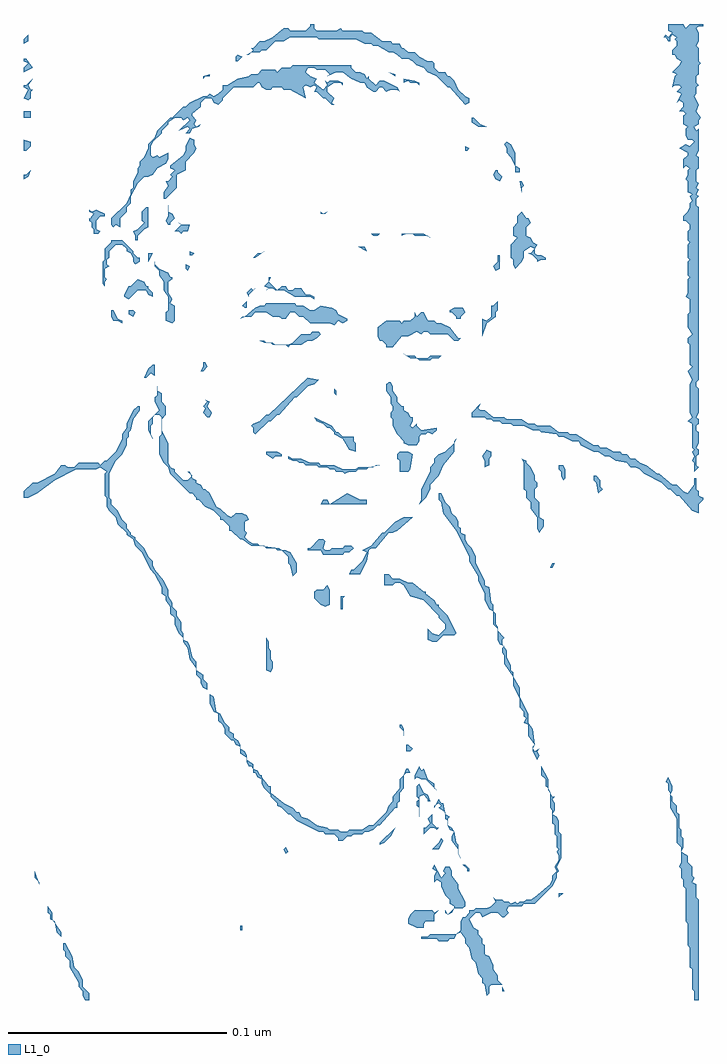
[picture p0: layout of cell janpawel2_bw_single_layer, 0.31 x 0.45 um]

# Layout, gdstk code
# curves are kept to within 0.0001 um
import gdstk
lib = gdstk.Library(unit=1e-6, precision=1e-09)
def R(c, l, rs):  # rectangles x0, y0, x1, y1
    for r in rs: c.add(gdstk.rectangle(r[:2], r[2:], *l))
def P(c, l, *ps):  # polygons
    for p in ps: c.add(gdstk.Polygon(p, *l))
L1_0 = (1, 0)

janpawel2_bw_single_laye = lib.new_cell('janpawel2_bw_single_layer')
R(janpawel2_bw_single_laye, L1_0, [(0.099,0.033,0.1,0.035), (0,0.405,0.003,0.408)])
P(janpawel2_bw_single_laye, L1_0, [(0.018,0.027),(0.018,0.024),(0.019,0.023),(0.019,0.021),(0.021,0.019),(0.021,0.016),(0.025,0.009),(0.025,0.007),(0.027,0.005),(0.027,0.003),(0.028,0.001),(0.03,0.001),(0.03,0.004),(0.027,0.007),(0.027,0.01),(0.025,0.014),(0.023,0.016),(0.022,0.021),(0.019,0.027)],
  [(0.176,0.036),(0.18,0.034),(0.183,0.034),(0.183,0.036),(0.184,0.037),(0.188,0.037),(0.188,0.04),(0.19,0.042),(0.188,0.041),(0.187,0.042),(0.179,0.042),(0.177,0.04),(0.176,0.038)],
  [(0.011,0.044),(0.011,0.041),(0.012,0.04),(0.012,0.038),(0.014,0.037),(0.015,0.032),(0.017,0.03),(0.017,0.032),(0.013,0.038),(0.013,0.041)],
  [(0.247,0.05),(0.245,0.05),(0.245,0.048)],
  [(0.005,0.06),(0.005,0.057),(0.007,0.055),(0.007,0.054)],
  [(0.201,0.063),(0.203,0.061),(0.203,0.06),(0.204,0.06),(0.204,0.061),(0.202,0.063)],
  [(0.188,0.063),(0.187,0.061),(0.189,0.06),(0.188,0.058),(0.188,0.055),(0.189,0.056),(0.191,0.055),(0.191,0.053),(0.193,0.049),(0.195,0.047),(0.195,0.045),(0.197,0.044),(0.197,0.043),(0.194,0.04),(0.193,0.041),(0.193,0.042),(0.194,0.04),(0.196,0.041),(0.197,0.043),(0.201,0.043),(0.202,0.044),(0.202,0.046),(0.199,0.052),(0.199,0.054),(0.196,0.058),(0.196,0.06),(0.195,0.062),(0.193,0.062),(0.192,0.06),(0.193,0.059),(0.191,0.057)],
  [(0.12,0.071),(0.119,0.07),(0.12,0.068),(0.121,0.069)],
  [(0.192,0.074),(0.191,0.075),(0.19,0.073),(0.187,0.07),(0.19,0.07)],
  [(0.17,0.08),(0.163,0.073),(0.163,0.072),(0.165,0.073),(0.168,0.076)],
  [(0.187,0.086),(0.185,0.084),(0.186,0.082),(0.184,0.08),(0.183,0.08),(0.183,0.077),(0.186,0.08),(0.188,0.08),(0.189,0.079),(0.19,0.08),(0.189,0.08),(0.187,0.082)],
  [(0.19,0.093),(0.188,0.089),(0.188,0.09),(0.19,0.091),(0.191,0.09),(0.19,0.089),(0.193,0.087),(0.193,0.084),(0.194,0.083),(0.194,0.081),(0.195,0.079),(0.197,0.078),(0.196,0.076),(0.196,0.074),(0.199,0.07),(0.199,0.068),(0.2,0.066),(0.199,0.068),(0.199,0.072),(0.198,0.073),(0.197,0.078),(0.196,0.08),(0.194,0.081),(0.194,0.084),(0.195,0.085),(0.193,0.086),(0.192,0.091),(0.191,0.091)],
  [(0.181,0.1),(0.18,0.099),(0.18,0.094),(0.181,0.093),(0.18,0.092),(0.18,0.09),(0.181,0.089),(0.181,0.085),(0.181,0.094),(0.183,0.095),(0.185,0.093),(0.185,0.092),(0.186,0.092),(0.185,0.095),(0.183,0.096)],
  [(0.295,0.103),(0.294,0.101),(0.295,0.1),(0.295,0.097),(0.296,0.096),(0.296,0.089),(0.299,0.084),(0.299,0.073),(0.301,0.071),(0.301,0.064),(0.3,0.062),(0.301,0.061),(0.301,0.057),(0.302,0.056),(0.302,0.053),(0.303,0.052),(0.303,0.037),(0.304,0.036),(0.304,0.026),(0.305,0.025),(0.305,0.016),(0.306,0.015),(0.306,0.006),(0.307,0.005),(0.307,0.001),(0.309,0.001),(0.309,0.047),(0.308,0.048),(0.308,0.054),(0.306,0.055),(0.307,0.057),(0.306,0.058),(0.306,0.062),(0.304,0.064),(0.304,0.067),(0.301,0.069),(0.302,0.071),(0.302,0.075),(0.301,0.076),(0.301,0.079),(0.3,0.08),(0.3,0.086),(0.299,0.087),(0.299,0.09),(0.297,0.092),(0.297,0.094),(0.296,0.095),(0.297,0.097),(0.297,0.099)],
  [(0.181,0.108),(0.179,0.104),(0.179,0.102),(0.18,0.103),(0.182,0.102),(0.184,0.102),(0.189,0.097),(0.188,0.098),(0.188,0.1),(0.185,0.102),(0.183,0.107),(0.182,0.106)],
  [(0.182,0.029),(0.189,0.029),(0.19,0.028),(0.194,0.028),(0.195,0.029),(0.197,0.029),(0.198,0.031),(0.186,0.031),(0.185,0.03),(0.182,0.03)],
  [(0.198,0.031),(0.2,0.032),(0.201,0.032),(0.202,0.033),(0.201,0.034),(0.202,0.036),(0.204,0.035),(0.203,0.034),(0.204,0.034),(0.205,0.033),(0.205,0.031),(0.203,0.029),(0.201,0.031),(0.201,0.032),(0.2,0.032),(0.202,0.029),(0.202,0.027),(0.204,0.025),(0.205,0.02),(0.207,0.018),(0.208,0.013),(0.21,0.011),(0.21,0.009),(0.211,0.008),(0.212,0.003),(0.213,0.004),(0.213,0.007),(0.214,0.008),(0.219,0.008),(0.217,0.01),(0.217,0.012),(0.215,0.015),(0.215,0.017),(0.213,0.021),(0.211,0.022),(0.211,0.026),(0.21,0.027),(0.21,0.029),(0.208,0.031),(0.208,0.033),(0.206,0.034),(0.204,0.038),(0.207,0.041),(0.209,0.041),(0.21,0.039),(0.214,0.041),(0.217,0.041),(0.219,0.039),(0.22,0.039),(0.222,0.041),(0.221,0.042),(0.222,0.044),(0.228,0.044),(0.229,0.045),(0.234,0.045),(0.242,0.053),(0.244,0.057),(0.244,0.059),(0.245,0.06),(0.244,0.062),(0.246,0.066),(0.246,0.077),(0.245,0.078),(0.245,0.083),(0.244,0.085),(0.242,0.086),(0.242,0.082),(0.243,0.081),(0.243,0.077),(0.244,0.076),(0.244,0.071),(0.245,0.07),(0.244,0.069),(0.245,0.067),(0.245,0.065),(0.243,0.062),(0.244,0.06),(0.242,0.058),(0.242,0.056),(0.241,0.054),(0.234,0.048),(0.232,0.047),(0.23,0.047),(0.229,0.046),(0.227,0.046),(0.226,0.045),(0.225,0.046),(0.223,0.045),(0.222,0.046),(0.22,0.046),(0.219,0.047),(0.216,0.047),(0.215,0.048),(0.216,0.046),(0.214,0.044),(0.212,0.043),(0.207,0.043),(0.206,0.042),(0.204,0.042),(0.204,0.041),(0.202,0.039),(0.201,0.039),(0.2,0.037),(0.2,0.033)],
  [(0.219,0.005),(0.22,0.005),(0.219,0.007)],
  [(0.237,0.104),(0.239,0.102),(0.239,0.099),(0.24,0.098),(0.24,0.102),(0.237,0.108)],
  [(0.24,0.097),(0.241,0.096),(0.24,0.098)],
  [(0.241,0.089),(0.242,0.088),(0.242,0.086),(0.243,0.088),(0.243,0.091),(0.242,0.093),(0.243,0.094),(0.242,0.094),(0.241,0.096)],
  [(0.204,0.034),(0.205,0.033),(0.205,0.031),(0.203,0.029),(0.201,0.031),(0.201,0.032),(0.203,0.034)],
  [(0.201,0.034),(0.202,0.036),(0.204,0.035),(0.202,0.033)],
  [(0.175,0.118),(0.175,0.115),(0.177,0.115),(0.178,0.116),(0.176,0.118)],
  [(0.172,0.127),(0.172,0.126),(0.174,0.124),(0.174,0.122),(0.174,0.125),(0.173,0.127)],
  [(0.085,0.141),(0.085,0.137),(0.087,0.133),(0.089,0.132),(0.089,0.129),(0.091,0.127),(0.092,0.125),(0.092,0.123),(0.095,0.12),(0.096,0.12),(0.097,0.118),(0.099,0.117),(0.099,0.114),(0.102,0.112),(0.102,0.11),(0.103,0.108),(0.104,0.108),(0.105,0.107),(0.105,0.105),(0.106,0.105),(0.107,0.103),(0.109,0.102),(0.109,0.1),(0.11,0.098),(0.113,0.095),(0.113,0.094),(0.116,0.091),(0.116,0.09),(0.118,0.089),(0.121,0.086),(0.122,0.086),(0.125,0.083),(0.135,0.078),(0.137,0.078),(0.138,0.077),(0.142,0.077),(0.144,0.075),(0.144,0.074),(0.146,0.074),(0.148,0.076),(0.15,0.076),(0.151,0.077),(0.155,0.077),(0.156,0.078),(0.158,0.078),(0.16,0.079),(0.162,0.081),(0.163,0.081),(0.17,0.089),(0.171,0.089),(0.171,0.091),(0.172,0.092),(0.172,0.096),(0.174,0.098),(0.174,0.104),(0.175,0.105),(0.177,0.105),(0.176,0.107),(0.175,0.107),(0.174,0.104),(0.172,0.102),(0.172,0.098),(0.169,0.094),(0.169,0.092),(0.167,0.09),(0.166,0.087),(0.16,0.081),(0.158,0.081),(0.155,0.079),(0.149,0.079),(0.148,0.078),(0.145,0.078),(0.144,0.079),(0.14,0.079),(0.139,0.08),(0.134,0.081),(0.13,0.084),(0.127,0.085),(0.126,0.087),(0.125,0.087),(0.123,0.089),(0.119,0.091),(0.113,0.096),(0.113,0.099),(0.112,0.099),(0.109,0.103),(0.109,0.104),(0.108,0.104),(0.107,0.106),(0.105,0.107),(0.105,0.109),(0.102,0.111),(0.102,0.113),(0.101,0.115),(0.099,0.116),(0.099,0.118),(0.098,0.12),(0.096,0.121),(0.096,0.123),(0.094,0.124),(0.094,0.126),(0.092,0.128),(0.09,0.132),(0.088,0.133),(0.087,0.14)],
  [(0.111,0.167),(0.111,0.152),(0.113,0.151),(0.114,0.153),(0.114,0.156),(0.113,0.157),(0.113,0.161),(0.112,0.162),(0.112,0.165)],
  [(0.147,0.186),(0.145,0.186),(0.145,0.18),(0.146,0.18),(0.146,0.185)],
  [(0.139,0.191),(0.137,0.189),(0.134,0.189),(0.133,0.188),(0.133,0.185),(0.136,0.182),(0.138,0.181),(0.14,0.182),(0.14,0.189)],
  [(0.165,0.196),(0.165,0.191),(0.169,0.191),(0.17,0.192),(0.172,0.192),(0.174,0.191),(0.177,0.186),(0.183,0.184),(0.19,0.177),(0.19,0.176),(0.193,0.173),(0.193,0.171),(0.19,0.168),(0.187,0.169),(0.185,0.171),(0.185,0.166),(0.187,0.165),(0.189,0.165),(0.192,0.168),(0.197,0.168),(0.198,0.169),(0.194,0.177),(0.19,0.181),(0.19,0.182),(0.189,0.182),(0.188,0.184),(0.184,0.187),(0.184,0.188),(0.183,0.188),(0.178,0.192),(0.176,0.192),(0.172,0.194),(0.169,0.194),(0.167,0.196)],
  [(0.243,0.201),(0.242,0.201),(0.241,0.199),(0.242,0.199)],
  [(0.13,0.207),(0.136,0.207),(0.137,0.205),(0.146,0.205),(0.147,0.206),(0.149,0.206),(0.151,0.208),(0.15,0.209),(0.147,0.209),(0.146,0.208),(0.141,0.208),(0.14,0.207),(0.138,0.207),(0.137,0.208),(0.138,0.211),(0.137,0.212),(0.135,0.212),(0.131,0.208),(0.13,0.208)],
  [(0.178,0.222),(0.174,0.222),(0.17,0.22),(0.165,0.215),(0.164,0.215),(0.159,0.209),(0.155,0.207),(0.157,0.206),(0.155,0.202),(0.151,0.198),(0.15,0.198),(0.149,0.196),(0.154,0.196),(0.157,0.202),(0.158,0.207),(0.159,0.208),(0.161,0.208),(0.167,0.215),(0.169,0.215),(0.171,0.216)],
  [(0.19,0.233),(0.19,0.23),(0.191,0.229),(0.192,0.224),(0.198,0.216),(0.204,0.204),(0.204,0.202),(0.208,0.195),(0.208,0.193),(0.211,0.187),(0.211,0.184),(0.213,0.18),(0.215,0.179),(0.215,0.173),(0.217,0.171),(0.217,0.166),(0.218,0.164),(0.22,0.163),(0.219,0.162),(0.219,0.16),(0.22,0.159),(0.22,0.155),(0.224,0.149),(0.224,0.145),(0.227,0.139),(0.227,0.135),(0.229,0.133),(0.229,0.131),(0.23,0.13),(0.229,0.128),(0.231,0.127),(0.231,0.122),(0.234,0.118),(0.233,0.117),(0.233,0.115),(0.235,0.111),(0.236,0.113),(0.235,0.115),(0.236,0.116),(0.234,0.115),(0.233,0.116),(0.234,0.118),(0.233,0.125),(0.231,0.128),(0.231,0.132),(0.227,0.14),(0.227,0.144),(0.224,0.149),(0.224,0.151),(0.223,0.152),(0.223,0.154),(0.221,0.158),(0.221,0.161),(0.219,0.164),(0.219,0.166),(0.22,0.167),(0.217,0.17),(0.217,0.172),(0.216,0.173),(0.216,0.178),(0.215,0.179),(0.215,0.182),(0.214,0.183),(0.213,0.19),(0.211,0.191),(0.211,0.193),(0.207,0.201),(0.207,0.204),(0.205,0.208),(0.203,0.21),(0.202,0.212),(0.202,0.214),(0.2,0.215),(0.2,0.217),(0.199,0.218),(0.199,0.22),(0.198,0.222),(0.196,0.224),(0.195,0.227),(0.193,0.229),(0.191,0.233)],
  [(0.157,0.23),(0.154,0.23),(0.148,0.233),(0.14,0.228),(0.139,0.23),(0.137,0.23),(0.136,0.228),(0.157,0.228)],
  [(0.261,0.241),(0.261,0.239),(0.262,0.238),(0.263,0.233),(0.265,0.235),(0.264,0.236),(0.264,0.239),(0.262,0.241)],
  [(0.245,0.246),(0.245,0.244),(0.246,0.243),(0.246,0.241),(0.247,0.239),(0.248,0.24),(0.248,0.244),(0.247,0.246)],
  [(0.228,0.249),(0.229,0.247),(0.229,0.235),(0.23,0.234),(0.23,0.231),(0.232,0.229),(0.232,0.226),(0.235,0.222),(0.235,0.217),(0.236,0.215),(0.238,0.218),(0.238,0.221),(0.236,0.222),(0.236,0.229),(0.234,0.231),(0.234,0.235),(0.235,0.236),(0.235,0.238),(0.234,0.239),(0.234,0.241),(0.232,0.245),(0.23,0.247),(0.23,0.248)],
  [(0.121,0.25),(0.121,0.249),(0.123,0.248),(0.125,0.248),(0.126,0.247),(0.128,0.247),(0.129,0.246),(0.134,0.246),(0.135,0.245),(0.139,0.245),(0.14,0.244),(0.142,0.244),(0.143,0.243),(0.146,0.243),(0.147,0.242),(0.149,0.243),(0.152,0.243),(0.153,0.244),(0.157,0.244),(0.158,0.245),(0.163,0.246),(0.161,0.246),(0.16,0.245),(0.153,0.245),(0.152,0.244),(0.146,0.244),(0.142,0.246),(0.136,0.246),(0.135,0.247),(0.131,0.247),(0.127,0.249),(0.123,0.249)],
  [(0.172,0.252),(0.171,0.251),(0.171,0.249),(0.172,0.248),(0.172,0.243),(0.176,0.243),(0.177,0.244),(0.178,0.251),(0.176,0.252)],
  [(0.111,0.252),(0.111,0.251),(0.114,0.249),(0.115,0.25),(0.118,0.25),(0.118,0.251),(0.116,0.252)],
  [(0.212,0.253),(0.21,0.25),(0.211,0.248),(0.211,0.245),(0.213,0.246),(0.213,0.249),(0.214,0.25),(0.214,0.252)],
  [(0.198,0.258),(0.197,0.256),(0.193,0.252),(0.19,0.251),(0.188,0.249),(0.188,0.247),(0.186,0.245),(0.186,0.243),(0.182,0.235),(0.182,0.23),(0.181,0.228),(0.184,0.231),(0.186,0.235),(0.186,0.237),(0.19,0.241),(0.192,0.246),(0.197,0.252),(0.197,0.257)],
  [(0.133,0.268),(0.134,0.266),(0.137,0.265),(0.139,0.263),(0.14,0.263),(0.142,0.261),(0.142,0.26),(0.146,0.258),(0.149,0.253),(0.152,0.252),(0.152,0.256),(0.151,0.257),(0.151,0.259),(0.146,0.259),(0.144,0.261),(0.143,0.261),(0.141,0.264)],
  [(0.052,0.273),(0.05,0.271),(0.047,0.265),(0.047,0.263),(0.045,0.26),(0.045,0.258),(0.042,0.252),(0.038,0.248),(0.037,0.248),(0.035,0.246),(0.034,0.247),(0.025,0.247),(0.023,0.245),(0.02,0.245),(0.019,0.246),(0.017,0.246),(0.014,0.242),(0.006,0.238),(0.004,0.238),(0,0.234),(0,0.231),(0.002,0.231),(0.006,0.233),(0.014,0.239),(0.024,0.244),(0.033,0.244),(0.035,0.245),(0.038,0.243),(0.037,0.242),(0.037,0.232),(0.038,0.231),(0.038,0.227),(0.039,0.225),(0.042,0.222),(0.043,0.219),(0.047,0.215),(0.047,0.214),(0.05,0.212),(0.051,0.209),(0.054,0.206),(0.058,0.198),(0.06,0.196),(0.063,0.19),(0.063,0.187),(0.065,0.186),(0.065,0.184),(0.067,0.181),(0.067,0.178),(0.069,0.176),(0.069,0.173),(0.071,0.169),(0.073,0.167),(0.073,0.165),(0.075,0.162),(0.076,0.157),(0.079,0.153),(0.079,0.15),(0.081,0.148),(0.081,0.146),(0.082,0.144),(0.084,0.143),(0.084,0.146),(0.082,0.148),(0.082,0.15),(0.079,0.152),(0.079,0.156),(0.077,0.158),(0.076,0.163),(0.075,0.165),(0.073,0.166),(0.073,0.169),(0.072,0.17),(0.072,0.174),(0.07,0.177),(0.07,0.179),(0.068,0.181),(0.068,0.183),(0.066,0.186),(0.066,0.189),(0.064,0.193),(0.06,0.198),(0.059,0.2),(0.059,0.202),(0.057,0.204),(0.055,0.208),(0.051,0.212),(0.051,0.213),(0.049,0.214),(0.049,0.215),(0.047,0.217),(0.047,0.219),(0.045,0.221),(0.043,0.225),(0.04,0.228),(0.04,0.23),(0.039,0.231),(0.039,0.242),(0.042,0.248),(0.045,0.251),(0.047,0.255),(0.047,0.258),(0.048,0.259),(0.048,0.261),(0.049,0.262),(0.05,0.267),(0.053,0.271),(0.053,0.273)],
  [(0.205,0.27),(0.205,0.268),(0.211,0.268),(0.212,0.267),(0.214,0.267),(0.215,0.266),(0.218,0.266),(0.219,0.265),(0.223,0.265),(0.224,0.264),(0.229,0.264),(0.233,0.262),(0.236,0.262),(0.237,0.261),(0.244,0.26),(0.245,0.259),(0.247,0.259),(0.251,0.257),(0.254,0.257),(0.255,0.255),(0.261,0.252),(0.263,0.252),(0.266,0.25),(0.268,0.25),(0.271,0.248),(0.276,0.247),(0.278,0.245),(0.28,0.245),(0.282,0.244),(0.284,0.242),(0.292,0.238),(0.295,0.235),(0.296,0.235),(0.299,0.232),(0.3,0.232),(0.306,0.225),(0.309,0.224),(0.309,0.228),(0.311,0.23),(0.311,0.231),(0.309,0.232),(0.309,0.234),(0.308,0.235),(0.308,0.24),(0.307,0.24),(0.307,0.237),(0.304,0.233),(0.302,0.234),(0.299,0.237),(0.297,0.237),(0.291,0.242),(0.29,0.242),(0.285,0.246),(0.282,0.247),(0.28,0.249),(0.278,0.249),(0.276,0.251),(0.274,0.251),(0.273,0.252),(0.27,0.252),(0.267,0.254),(0.264,0.254),(0.263,0.255),(0.261,0.255),(0.253,0.26),(0.25,0.26),(0.249,0.261),(0.245,0.261),(0.241,0.264),(0.235,0.264),(0.234,0.265),(0.231,0.265),(0.228,0.267),(0.221,0.267),(0.22,0.268),(0.215,0.268),(0.211,0.271),(0.209,0.271),(0.208,0.272),(0.209,0.274)],
  [(0.083,0.276),(0.084,0.275),(0.082,0.273),(0.083,0.272),(0.082,0.27),(0.084,0.268),(0.085,0.268),(0.086,0.27),(0.084,0.273),(0.085,0.275)],
  [(0.142,0.281),(0.142,0.279),(0.143,0.278),(0.143,0.28)],
  [(0.061,0.282),(0.061,0.278),(0.06,0.277),(0.06,0.275),(0.062,0.271),(0.057,0.266),(0.057,0.262),(0.059,0.258),(0.058,0.26),(0.058,0.264),(0.059,0.265),(0.059,0.268),(0.06,0.269),(0.062,0.269),(0.063,0.268),(0.063,0.26),(0.062,0.259),(0.062,0.251),(0.064,0.247),(0.066,0.245),(0.067,0.242),(0.076,0.233),(0.077,0.233),(0.079,0.231),(0.079,0.23),(0.08,0.23),(0.083,0.227),(0.087,0.225),(0.09,0.222),(0.09,0.221),(0.091,0.221),(0.094,0.218),(0.094,0.216),(0.095,0.216),(0.099,0.212),(0.1,0.212),(0.104,0.209),(0.11,0.209),(0.111,0.208),(0.115,0.208),(0.116,0.207),(0.118,0.207),(0.121,0.204),(0.121,0.201),(0.122,0.2),(0.123,0.195),(0.125,0.197),(0.125,0.201),(0.122,0.206),(0.12,0.207),(0.118,0.207),(0.117,0.208),(0.108,0.209),(0.107,0.21),(0.105,0.21),(0.103,0.211),(0.101,0.213),(0.102,0.215),(0.101,0.216),(0.101,0.22),(0.103,0.221),(0.102,0.223),(0.1,0.224),(0.097,0.224),(0.095,0.222),(0.093,0.223),(0.09,0.226),(0.088,0.227),(0.085,0.233),(0.083,0.235),(0.082,0.235),(0.081,0.237),(0.079,0.238),(0.079,0.239),(0.077,0.24),(0.076,0.243),(0.075,0.243),(0.077,0.241),(0.075,0.239),(0.073,0.239),(0.069,0.243),(0.069,0.244),(0.067,0.245),(0.066,0.247),(0.066,0.256),(0.063,0.262),(0.063,0.267),(0.065,0.269),(0.065,0.273),(0.063,0.275),(0.063,0.279),(0.061,0.28)],
  [(0.167,0.284),(0.166,0.283),(0.166,0.28),(0.168,0.277),(0.168,0.274),(0.169,0.273),(0.169,0.271),(0.168,0.27),(0.168,0.268),(0.169,0.267),(0.169,0.264),(0.171,0.26),(0.174,0.257),(0.174,0.256),(0.176,0.255),(0.18,0.255),(0.181,0.257),(0.181,0.259),(0.182,0.26),(0.184,0.26),(0.185,0.261),(0.187,0.26),(0.189,0.262),(0.189,0.263),(0.182,0.262),(0.18,0.264),(0.18,0.265),(0.178,0.263),(0.177,0.264),(0.178,0.266),(0.178,0.268),(0.177,0.268),(0.176,0.27),(0.174,0.271),(0.174,0.273),(0.173,0.273),(0.171,0.275),(0.171,0.277),(0.169,0.28),(0.169,0.282),(0.168,0.284)],
  [(0.135,0.285),(0.13,0.286),(0.112,0.269),(0.111,0.269),(0.108,0.266),(0.105,0.265),(0.104,0.264),(0.105,0.263),(0.105,0.261),(0.106,0.26),(0.112,0.266),(0.113,0.266),(0.116,0.269),(0.117,0.269),(0.124,0.277),(0.125,0.277),(0.13,0.282),(0.133,0.283)],
  [(0.06,0.292),(0.059,0.292),(0.057,0.29),(0.055,0.286),(0.056,0.286),(0.058,0.288),(0.06,0.287)],
  [(0.083,0.293),(0.082,0.293),(0.082,0.291),(0.081,0.289),(0.082,0.289),(0.084,0.291)],
  [(0.174,0.297),(0.177,0.295),(0.18,0.295),(0.181,0.294),(0.186,0.294),(0.187,0.295),(0.19,0.295),(0.191,0.296),(0.186,0.296),(0.185,0.295),(0.18,0.295),(0.179,0.296),(0.175,0.296)],
  [(0.136,0.306),(0.135,0.307),(0.132,0.307),(0.131,0.306),(0.127,0.306),(0.123,0.302),(0.121,0.301),(0.115,0.301),(0.114,0.302),(0.111,0.302),(0.11,0.303),(0.108,0.303),(0.11,0.302),(0.113,0.302),(0.114,0.301),(0.12,0.301),(0.121,0.3),(0.122,0.301),(0.127,0.301),(0.13,0.303),(0.132,0.303),(0.134,0.304)],
  [(0.162,0.309),(0.162,0.305),(0.163,0.303),(0.164,0.303),(0.166,0.301),(0.166,0.3),(0.169,0.3),(0.173,0.305),(0.176,0.305),(0.18,0.307),(0.182,0.306),(0.183,0.307),(0.185,0.307),(0.186,0.306),(0.194,0.306),(0.197,0.303),(0.199,0.303),(0.2,0.304),(0.199,0.304),(0.195,0.309),(0.191,0.311),(0.189,0.311),(0.188,0.312),(0.185,0.312),(0.183,0.316),(0.182,0.316),(0.18,0.314),(0.179,0.316),(0.179,0.314),(0.177,0.312),(0.174,0.312),(0.173,0.311),(0.172,0.312),(0.166,0.312)],
  [(0.048,0.317),(0.048,0.315),(0.05,0.314),(0.051,0.316),(0.05,0.317)],
  [(0.04,0.317),(0.04,0.314),(0.041,0.312),(0.043,0.312),(0.045,0.311),(0.045,0.312),(0.043,0.313),(0.041,0.317)],
  [(0.195,0.317),(0.195,0.316),(0.196,0.316),(0.198,0.314),(0.198,0.313),(0.2,0.313),(0.2,0.314),(0.202,0.316),(0.201,0.318),(0.197,0.318)],
  [(0.099,0.313),(0.101,0.314),(0.1,0.314)],
  [(0.101,0.314),(0.104,0.314),(0.106,0.316),(0.111,0.316),(0.114,0.314),(0.117,0.314),(0.118,0.313),(0.12,0.313),(0.122,0.316),(0.124,0.316),(0.126,0.314),(0.128,0.314),(0.131,0.311),(0.14,0.311),(0.142,0.31),(0.144,0.312),(0.146,0.311),(0.148,0.312),(0.148,0.313),(0.144,0.315),(0.143,0.317),(0.141,0.318),(0.136,0.319),(0.138,0.318),(0.136,0.316),(0.135,0.317),(0.136,0.319),(0.133,0.317),(0.131,0.317),(0.128,0.319),(0.125,0.319),(0.124,0.32),(0.111,0.32),(0.11,0.319),(0.108,0.319),(0.106,0.318)],
  [(0.135,0.317),(0.136,0.319),(0.138,0.318),(0.136,0.316)],
  [(0.217,0.321),(0.215,0.319),(0.214,0.319),(0.214,0.314),(0.212,0.312),(0.21,0.313),(0.21,0.305),(0.212,0.311),(0.216,0.314),(0.216,0.316),(0.217,0.317)],
  [(0.102,0.321),(0.1,0.319),(0.101,0.318),(0.102,0.318)],
  [(0.106,0.327),(0.105,0.326),(0.104,0.327),(0.102,0.325),(0.103,0.323),(0.103,0.324)],
  [(0.046,0.324),(0.046,0.323),(0.048,0.322),(0.052,0.326),(0.056,0.326),(0.057,0.324),(0.059,0.323),(0.059,0.325),(0.057,0.327),(0.057,0.328),(0.056,0.328),(0.055,0.33),(0.052,0.331),(0.049,0.328),(0.048,0.328)],
  [(0.11,0.328),(0.112,0.327),(0.111,0.326),(0.112,0.327),(0.114,0.327),(0.115,0.326),(0.119,0.326),(0.124,0.323),(0.131,0.323),(0.133,0.322),(0.133,0.323),(0.131,0.324),(0.129,0.324),(0.127,0.327),(0.124,0.327),(0.123,0.326),(0.121,0.326),(0.12,0.328),(0.118,0.328),(0.116,0.326),(0.112,0.33),(0.113,0.332),(0.112,0.332),(0.112,0.33)],
  [(0.074,0.338),(0.074,0.336),(0.075,0.335),(0.076,0.337)],
  [(0.06,0.339),(0.06,0.337),(0.062,0.335),(0.062,0.333),(0.064,0.33),(0.064,0.326),(0.066,0.323),(0.066,0.317),(0.065,0.316),(0.065,0.312),(0.068,0.311),(0.069,0.312),(0.069,0.319),(0.067,0.32),(0.068,0.322),(0.066,0.325),(0.066,0.33),(0.068,0.331),(0.068,0.332),(0.067,0.332),(0.066,0.334),(0.062,0.336),(0.06,0.338)],
  [(0.218,0.342),(0.217,0.342),(0.217,0.339),(0.215,0.337),(0.216,0.335),(0.218,0.336)],
  [(0.059,0.343),(0.057,0.343),(0.057,0.339)],
  [(0.11,0.344),(0.109,0.343),(0.107,0.343),(0.105,0.341),(0.106,0.341)],
  [(0.076,0.344),(0.076,0.342),(0.077,0.342),(0.078,0.343)],
  [(0.153,0.346),(0.157,0.344),(0.156,0.346)],
  [(0.045,0.349),(0.04,0.349),(0.04,0.348),(0.037,0.345),(0.037,0.34),(0.036,0.339),(0.036,0.329),(0.037,0.328),(0.037,0.33),(0.038,0.331),(0.037,0.332),(0.037,0.336),(0.039,0.337),(0.038,0.338),(0.038,0.34),(0.039,0.341),(0.039,0.344),(0.042,0.347),(0.045,0.347),(0.047,0.345),(0.047,0.344),(0.049,0.343),(0.05,0.341),(0.05,0.339),(0.051,0.338),(0.053,0.339),(0.053,0.341),(0.052,0.341),(0.05,0.343),(0.05,0.344)],
  [(0.173,0.352),(0.173,0.351),(0.175,0.352),(0.178,0.352),(0.179,0.351),(0.185,0.351),(0.186,0.35),(0.183,0.352)],
  [(0.157,0.352),(0.159,0.352),(0.16,0.351),(0.162,0.351),(0.163,0.352)],
  [(0.069,0.353),(0.071,0.353),(0.072,0.352),(0.073,0.353),(0.075,0.353),(0.076,0.356),(0.072,0.356),(0.071,0.357),(0.072,0.356)],
  [(0.228,0.362),(0.226,0.36),(0.226,0.357),(0.224,0.355),(0.224,0.351),(0.226,0.35),(0.223,0.347),(0.223,0.341),(0.224,0.34),(0.224,0.338),(0.225,0.336),(0.228,0.339),(0.229,0.341),(0.229,0.344),(0.232,0.346),(0.234,0.345),(0.232,0.343),(0.231,0.343),(0.233,0.342),(0.235,0.34),(0.235,0.339),(0.237,0.34),(0.239,0.34),(0.239,0.341),(0.237,0.342),(0.235,0.342),(0.234,0.343),(0.234,0.345),(0.235,0.347),(0.233,0.348),(0.232,0.35),(0.23,0.351),(0.23,0.355),(0.232,0.357),(0.231,0.359),(0.23,0.359)],
  [(0.136,0.361),(0.138,0.361),(0.139,0.362),(0.137,0.361),(0.136,0.362)],
  [(0.03,0.358),(0.031,0.357),(0.03,0.359)],
  [(0.03,0.362),(0.032,0.361),(0.031,0.36),(0.033,0.359),(0.031,0.357),(0.031,0.355),(0.032,0.354),(0.032,0.352),(0.034,0.352),(0.035,0.353),(0.033,0.354),(0.033,0.358),(0.035,0.36),(0.037,0.36),(0.037,0.361),(0.033,0.363),(0.031,0.362),(0.03,0.363)],
  [(0.03,0.358),(0.031,0.36),(0.033,0.359),(0.031,0.357)],
  [(0.057,0.364),(0.056,0.364),(0.054,0.362),(0.054,0.358),(0.055,0.357),(0.052,0.354),(0.05,0.353),(0.051,0.351),(0.051,0.349),(0.052,0.349),(0.052,0.351),(0.055,0.354),(0.057,0.355)],
  [(0.066,0.365),(0.066,0.36),(0.065,0.358),(0.066,0.356),(0.067,0.356),(0.067,0.357),(0.069,0.359),(0.068,0.361),(0.066,0.362)],
  [(0.227,0.376),(0.228,0.371),(0.228,0.373),(0.229,0.374),(0.228,0.376)],
  [(0.216,0.381),(0.215,0.379),(0.216,0.377),(0.218,0.376),(0.219,0.378),(0.217,0.38),(0.217,0.381)],
  [(0.003,0.381),(0.001,0.379),(0,0.379),(0,0.377),(0.002,0.378)],
  [(0.202,0.392),(0.202,0.39),(0.203,0.39),(0.204,0.391)],
  [(0.221,0.394),(0.22,0.393),(0.221,0.391),(0.221,0.389),(0.223,0.387),(0.225,0.383),(0.225,0.38),(0.227,0.38),(0.227,0.382),(0.225,0.383),(0.225,0.389),(0.223,0.393)],
  [(0,0.395),(0,0.39),(0.001,0.39),(0.003,0.392),(0.003,0.394)],
  [(0.064,0.368),(0.065,0.368),(0.07,0.373),(0.07,0.379),(0.074,0.381),(0.074,0.385),(0.078,0.389),(0.079,0.391),(0.078,0.393),(0.078,0.395),(0.076,0.396),(0.074,0.392),(0.074,0.39),(0.073,0.388),(0.067,0.383),(0.067,0.382),(0.069,0.381),(0.068,0.383),(0.071,0.386),(0.072,0.386),(0.073,0.385),(0.067,0.379),(0.068,0.378),(0.066,0.376),(0.065,0.376),(0.066,0.374),(0.064,0.371)],
  [(0.072,0.386),(0.073,0.385),(0.069,0.381),(0.068,0.383),(0.071,0.386)],
  [(0.205,0.405),(0.205,0.403),(0.208,0.401),(0.212,0.401),(0.209,0.402),(0.206,0.405)],
  [(0.174,0.423),(0.174,0.421),(0.176,0.422),(0.177,0.421),(0.18,0.421),(0.181,0.42),(0.181,0.421),(0.179,0.422)],
  [(0.004,0.423),(0.001,0.42),(0,0.42),(0,0.419),(0.002,0.418),(0,0.414),(0.002,0.413),(0.003,0.414),(0.003,0.417),(0.004,0.418),(0.003,0.418),(0.002,0.42)],
  [(0.085,0.425),(0.082,0.424),(0.082,0.423),(0.083,0.424),(0.085,0.424)],
  [(0.167,0.426),(0.17,0.424),(0.17,0.425)],
  [(0.04,0.356),(0.041,0.355),(0.042,0.356),(0.044,0.355),(0.044,0.359),(0.047,0.362),(0.047,0.364),(0.049,0.366),(0.049,0.369),(0.052,0.375),(0.055,0.378),(0.057,0.378),(0.059,0.379),(0.061,0.382),(0.065,0.384),(0.066,0.386),(0.066,0.389),(0.062,0.387),(0.061,0.388),(0.059,0.387),(0.058,0.388),(0.058,0.392),(0.059,0.394),(0.063,0.398),(0.063,0.399),(0.066,0.402),(0.066,0.403),(0.069,0.405),(0.072,0.405),(0.073,0.404),(0.075,0.405),(0.076,0.404),(0.071,0.399),(0.075,0.401),(0.076,0.4),(0.074,0.398),(0.076,0.398),(0.077,0.4),(0.08,0.401),(0.081,0.402),(0.079,0.401),(0.078,0.402),(0.079,0.404),(0.077,0.406),(0.077,0.407),(0.081,0.41),(0.081,0.412),(0.083,0.414),(0.086,0.414),(0.087,0.412),(0.089,0.411),(0.091,0.413),(0.091,0.414),(0.096,0.419),(0.105,0.419),(0.107,0.421),(0.108,0.421),(0.109,0.419),(0.111,0.418),(0.113,0.418),(0.114,0.419),(0.118,0.419),(0.119,0.418),(0.122,0.418),(0.129,0.414),(0.128,0.419),(0.128,0.418),(0.126,0.416),(0.125,0.417),(0.126,0.419),(0.128,0.418),(0.128,0.419),(0.129,0.42),(0.129,0.421),(0.127,0.421),(0.126,0.422),(0.123,0.422),(0.122,0.423),(0.122,0.425),(0.126,0.427),(0.129,0.424),(0.131,0.423),(0.129,0.421),(0.129,0.42),(0.131,0.419),(0.133,0.42),(0.134,0.419),(0.133,0.417),(0.134,0.417),(0.137,0.414),(0.138,0.414),(0.141,0.411),(0.142,0.411),(0.141,0.412),(0.142,0.414),(0.139,0.417),(0.139,0.419),(0.142,0.421),(0.145,0.421),(0.146,0.42),(0.146,0.421),(0.144,0.422),(0.14,0.422),(0.139,0.421),(0.138,0.422),(0.139,0.42),(0.137,0.418),(0.133,0.421),(0.134,0.423),(0.131,0.424),(0.129,0.426),(0.13,0.428),(0.133,0.428),(0.134,0.427),(0.138,0.427),(0.14,0.425),(0.139,0.424),(0.143,0.426),(0.146,0.426),(0.15,0.423),(0.154,0.421),(0.156,0.421),(0.157,0.419),(0.16,0.417),(0.161,0.417),(0.163,0.419),(0.164,0.419),(0.166,0.417),(0.168,0.418),(0.171,0.418),(0.172,0.417),(0.171,0.419),(0.165,0.422),(0.163,0.422),(0.161,0.42),(0.158,0.423),(0.158,0.424),(0.157,0.423),(0.156,0.425),(0.154,0.426),(0.152,0.426),(0.15,0.428),(0.15,0.429),(0.123,0.429),(0.122,0.428),(0.118,0.428),(0.116,0.426),(0.115,0.427),(0.109,0.427),(0.107,0.425),(0.104,0.425),(0.103,0.424),(0.098,0.423),(0.093,0.42),(0.091,0.42),(0.091,0.418),(0.089,0.416),(0.087,0.415),(0.085,0.416),(0.084,0.415),(0.082,0.415),(0.076,0.412),(0.074,0.41),(0.073,0.41),(0.068,0.405),(0.067,0.405),(0.061,0.399),(0.06,0.396),(0.057,0.393),(0.057,0.391),(0.055,0.387),(0.053,0.385),(0.053,0.383),(0.052,0.382),(0.052,0.38),(0.05,0.376),(0.05,0.373),(0.049,0.372),(0.049,0.37),(0.047,0.366),(0.04,0.359)],
  [(0.125,0.417),(0.126,0.419),(0.128,0.418),(0.126,0.416)],
  [(0.122,0.425),(0.126,0.427),(0.129,0.424),(0.131,0.423),(0.129,0.421),(0.127,0.421),(0.126,0.422),(0.123,0.422),(0.122,0.423)],
  [(0.001,0.432),(0,0.432),(0,0.431),(0.002,0.43),(0,0.428),(0,0.426),(0.004,0.428)],
  [(0.1,0.433),(0.098,0.434),(0.097,0.433),(0.097,0.431),(0.098,0.431)],
  [(0.002,0.443),(0,0.441),(0,0.439),(0.002,0.44)],
  [(0.293,0.442),(0.294,0.442),(0.295,0.44),(0.296,0.44),(0.296,0.442),(0.297,0.443),(0.299,0.442),(0.298,0.441),(0.299,0.44),(0.299,0.438),(0.297,0.436),(0.297,0.434),(0.298,0.434),(0.299,0.432),(0.299,0.433),(0.3,0.435),(0.302,0.434),(0.302,0.436),(0.301,0.437),(0.302,0.439),(0.304,0.438),(0.302,0.436),(0.302,0.434),(0.3,0.432),(0.299,0.433),(0.299,0.432),(0.301,0.431),(0.3,0.429),(0.297,0.426),(0.299,0.425),(0.298,0.424),(0.297,0.419),(0.298,0.42),(0.3,0.42),(0.302,0.424),(0.304,0.423),(0.304,0.424),(0.305,0.426),(0.307,0.425),(0.305,0.423),(0.304,0.424),(0.304,0.423),(0.302,0.421),(0.301,0.422),(0.3,0.42),(0.301,0.419),(0.299,0.417),(0.301,0.416),(0.301,0.415),(0.302,0.417),(0.306,0.415),(0.304,0.413),(0.303,0.414),(0.304,0.416),(0.302,0.414),(0.301,0.415),(0.301,0.416),(0.299,0.412),(0.3,0.413),(0.302,0.412),(0.302,0.41),(0.3,0.408),(0.302,0.408),(0.303,0.407),(0.302,0.406),(0.302,0.402),(0.304,0.401),(0.305,0.401),(0.306,0.403),(0.308,0.402),(0.306,0.4),(0.305,0.401),(0.304,0.401),(0.303,0.4),(0.303,0.397),(0.304,0.395),(0.306,0.395),(0.307,0.394),(0.305,0.392),(0.303,0.393),(0.3,0.391),(0.304,0.389),(0.304,0.388),(0.302,0.386),(0.302,0.382),(0.303,0.383),(0.305,0.382),(0.304,0.381),(0.304,0.379),(0.303,0.377),(0.304,0.376),(0.304,0.371),(0.306,0.37),(0.305,0.369),(0.306,0.367),(0.305,0.366),(0.305,0.364),(0.304,0.362),(0.302,0.36),(0.302,0.358),(0.303,0.358),(0.305,0.356),(0.305,0.354),(0.304,0.353),(0.304,0.349),(0.305,0.348),(0.304,0.347),(0.304,0.341),(0.305,0.34),(0.304,0.339),(0.304,0.333),(0.305,0.332),(0.304,0.331),(0.304,0.325),(0.303,0.323),(0.305,0.322),(0.305,0.316),(0.304,0.315),(0.304,0.309),(0.306,0.306),(0.304,0.304),(0.304,0.302),(0.305,0.301),(0.305,0.292),(0.306,0.291),(0.304,0.289),(0.306,0.285),(0.305,0.283),(0.305,0.27),(0.306,0.268),(0.304,0.266),(0.306,0.265),(0.306,0.254),(0.307,0.253),(0.306,0.252),(0.307,0.25),(0.306,0.248),(0.307,0.247),(0.307,0.243),(0.309,0.245),(0.308,0.246),(0.308,0.25),(0.309,0.251),(0.309,0.253),(0.308,0.254),(0.309,0.256),(0.309,0.261),(0.308,0.262),(0.308,0.264),(0.309,0.265),(0.309,0.267),(0.308,0.268),(0.309,0.27),(0.309,0.281),(0.308,0.282),(0.308,0.284),(0.309,0.285),(0.309,0.364),(0.308,0.365),(0.308,0.368),(0.309,0.369),(0.308,0.37),(0.309,0.372),(0.308,0.373),(0.309,0.375),(0.308,0.376),(0.308,0.381),(0.309,0.382),(0.309,0.387),(0.308,0.388),(0.309,0.39),(0.309,0.4),(0.308,0.399),(0.307,0.401),(0.309,0.402),(0.309,0.404),(0.31,0.405),(0.308,0.408),(0.309,0.411),(0.307,0.415),(0.308,0.416),(0.308,0.419),(0.309,0.42),(0.308,0.421),(0.308,0.424),(0.309,0.425),(0.309,0.429),(0.31,0.43),(0.309,0.431),(0.309,0.437),(0.308,0.438),(0.309,0.44),(0.309,0.444),(0.308,0.446),(0.308,0.447),(0.306,0.445),(0.305,0.446),(0.306,0.448),(0.308,0.447),(0.308,0.446),(0.309,0.447),(0.311,0.447),(0.311,0.448),(0.305,0.448),(0.303,0.446),(0.302,0.448),(0.295,0.448),(0.295,0.445),(0.297,0.444),(0.295,0.442),(0.294,0.443)],
  [(0.305,0.401),(0.306,0.403),(0.308,0.402),(0.306,0.4)],
  [(0.303,0.414),(0.304,0.416),(0.306,0.415),(0.304,0.413)],
  [(0.301,0.415),(0.302,0.417),(0.304,0.416),(0.302,0.414)],
  [(0.301,0.422),(0.302,0.424),(0.304,0.423),(0.302,0.421)],
  [(0.304,0.424),(0.305,0.426),(0.307,0.425),(0.305,0.423)],
  [(0.299,0.433),(0.3,0.435),(0.302,0.434),(0.3,0.432)],
  [(0.301,0.437),(0.302,0.439),(0.304,0.438),(0.302,0.436)],
  [(0.305,0.446),(0.306,0.448),(0.308,0.447),(0.306,0.445)],
  [(0.102,0.434),(0.104,0.435),(0.108,0.435),(0.109,0.436),(0.111,0.436),(0.115,0.44),(0.119,0.44),(0.122,0.442),(0.134,0.442),(0.135,0.441),(0.152,0.441),(0.156,0.439),(0.159,0.439),(0.16,0.438),(0.162,0.438),(0.167,0.435),(0.169,0.435),(0.171,0.434),(0.173,0.432),(0.176,0.432),(0.178,0.431),(0.18,0.429),(0.183,0.428),(0.185,0.426),(0.189,0.424),(0.194,0.419),(0.195,0.419),(0.202,0.411),(0.204,0.412),(0.204,0.414),(0.202,0.415),(0.199,0.418),(0.197,0.422),(0.195,0.424),(0.194,0.424),(0.193,0.426),(0.19,0.426),(0.188,0.428),(0.188,0.43),(0.187,0.431),(0.185,0.431),(0.181,0.433),(0.179,0.435),(0.176,0.435),(0.174,0.437),(0.173,0.437),(0.172,0.439),(0.169,0.439),(0.168,0.44),(0.164,0.44),(0.159,0.444),(0.156,0.444),(0.155,0.445),(0.146,0.445),(0.145,0.446),(0.143,0.445),(0.134,0.445),(0.133,0.446),(0.133,0.448),(0.131,0.448),(0.131,0.447),(0.129,0.445),(0.122,0.445),(0.121,0.446),(0.119,0.446),(0.114,0.442),(0.11,0.44),(0.108,0.44),(0.105,0.437),(0.104,0.437),(0.105,0.436),(0.103,0.434)])

lib.write_gds('janpawel2_bw_single_layer.gds')
